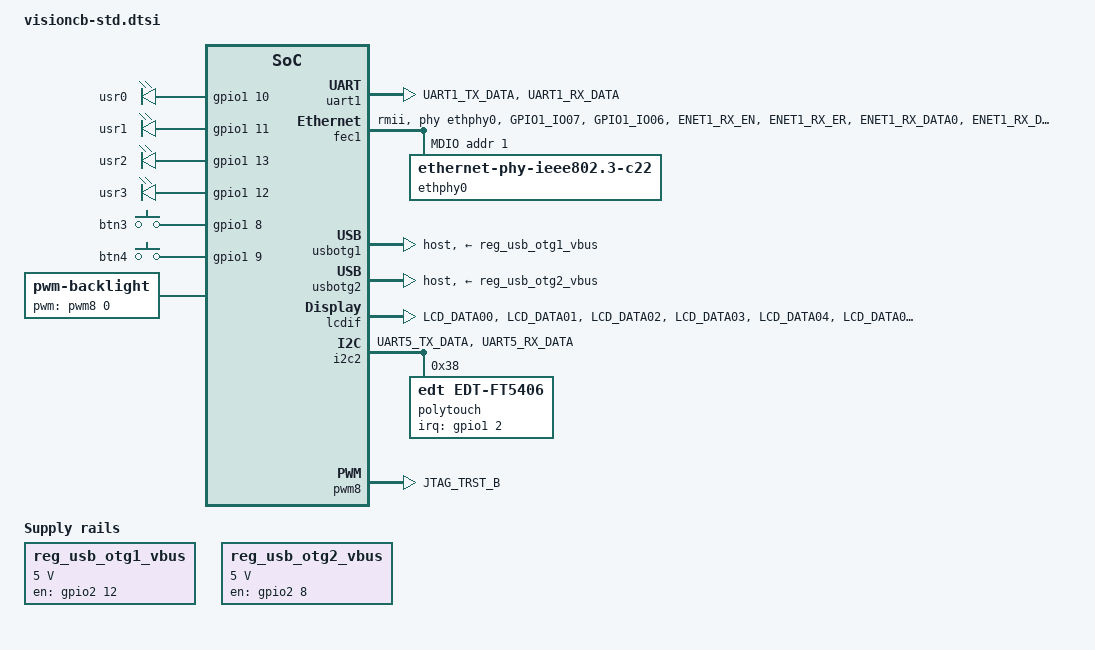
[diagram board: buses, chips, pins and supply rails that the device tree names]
/*
 * Copyright (C) 2015 Freescale Semiconductor, Inc.
 *
 * This program is free software; you can redistribute it and/or modify
 * it under the terms of the GNU General Public License version 2 as
 * published by the Free Software Foundation.
 */

/ {
        chosen {
                stdout-path = &uart1;
        };

        leds {
	        compatible = "gpio-leds";
                pinctrl-0 = <&pinctrl_gpio_leds>;

	        usr0 {
	                label = "usr0";
	                gpios = <&gpio1 10 GPIO_ACTIVE_HIGH>;
	                linux,default-trigger = "heartbeat";
	        };

	        usr1 {
		        label = "usr1";
		        gpios = <&gpio1 11 GPIO_ACTIVE_HIGH>;
		        linux,default-trigger = "mmc0";
	        };

	        usr2 {
		        label = "usr2";
		        gpios = <&gpio1 13 GPIO_ACTIVE_HIGH>;
		        linux,default-trigger = "mmc1";
	        };

	        usr3 {
		        label = "usr3";
		        gpios = <&gpio1 12 GPIO_ACTIVE_HIGH>;
	        };
        };

        gpio-keys {
                compatible = "gpio-keys";
                pinctrl-0 = <&pinctrl_gpio_keys>;
                pinctrl-names = "default";

                btn3 {
                        label = "btn3";
                        gpios = <&gpio1 8 GPIO_ACTIVE_HIGH>;
                        linux,code = <2>; /* <KEY_1> */
                };

                btn4 {
                        label = "btn4";
                        gpios = <&gpio1 9 GPIO_ACTIVE_HIGH>;
                        linux,code = <3>; /* <KEY_2> */
                };
        };

	backlight {
		compatible = "pwm-backlight";
		pwms = <&pwm8 0 5000000>;
		brightness-levels = <0 4 8 16 32 64 128 255>;
		default-brightness-level = <6>;
		status = "okay";
	};


	reg_usb_otg1_vbus: regulator@2 {
		compatible = "regulator-fixed";
		reg = <2>;
		pinctrl-names = "default";
		pinctrl-0 = <&pinctrl_usb_otg1>;
		regulator-name = "usb_otg1_vbus";
		regulator-min-microvolt = <5000000>;
		regulator-max-microvolt = <5000000>;
		gpio = <&gpio2 12 GPIO_ACTIVE_HIGH>;
		enable-active-high;
	};

	reg_usb_otg2_vbus: regulator@3 {
		compatible = "regulator-fixed";
		reg = <3>;
		pinctrl-names = "default";
		pinctrl-0 = <&pinctrl_usb_otg2>;
		regulator-name = "usb_otg2_vbus";
		regulator-min-microvolt = <5000000>;
		regulator-max-microvolt = <5000000>;
		gpio = <&gpio2 8 GPIO_ACTIVE_HIGH>;
		enable-active-high;
	};
};

&iomuxc {
        visioncb-std {
                pinctrl_uart1: uart1grp {
		        fsl,pins = <
			        MX6UL_PAD_UART1_TX_DATA__UART1_DCE_TX 0x1b0b1
			        MX6UL_PAD_UART1_RX_DATA__UART1_DCE_RX 0x1b0b1
		        >;
	        };

                pinctrl_i2c2: i2c2grp {
			fsl,pins = <
				MX6UL_PAD_UART5_TX_DATA__I2C2_SCL 0x4001b8b0
				MX6UL_PAD_UART5_RX_DATA__I2C2_SDA 0x4001b8b0
			>;
		};

	        pinctrl_gpio_leds: led_grp {
		        fsl,pins = <
			        MX6UL_PAD_JTAG_MOD__GPIO1_IO10		0x17099	/* LED 0 */
			        MX6UL_PAD_JTAG_TMS__GPIO1_IO11		0x17099	/* LED 1 */
			        MX6UL_PAD_JTAG_TDI__GPIO1_IO13		0x17099	/* LED 2 */
			        MX6UL_PAD_JTAG_TDO__GPIO1_IO12		0x17099	/* LED 3 */
		        >;
	        };

                pinctrl_gpio_keys: keysgrp {
			fsl,pins = <
				MX6UL_PAD_GPIO1_IO08__GPIO1_IO08  0x000050B0    /* BTN 3 */
				MX6UL_PAD_GPIO1_IO09__GPIO1_IO09  0x000050B0    /* BTN 4 */
			>;
		};

                pinctrl_enet1: enet1grp {
		        fsl,pins = <
			        MX6UL_PAD_GPIO1_IO07__ENET1_MDC		0x1b0b0
			        MX6UL_PAD_GPIO1_IO06__ENET1_MDIO	0x1F829

			        MX6UL_PAD_ENET1_RX_EN__ENET1_RX_EN	0x1b0b0
			        MX6UL_PAD_ENET1_RX_ER__ENET1_RX_ER	0x1b0b0
			        MX6UL_PAD_ENET1_RX_DATA0__ENET1_RDATA00	0x1b0b0
			        MX6UL_PAD_ENET1_RX_DATA1__ENET1_RDATA01	0x1b0b0
			        MX6UL_PAD_ENET1_TX_EN__ENET1_TX_EN	0x1b0b0
			        MX6UL_PAD_ENET1_TX_DATA0__ENET1_TDATA00	0x1b0b0
			        MX6UL_PAD_ENET1_TX_DATA1__ENET1_TDATA01	0x1b0b0
			        MX6UL_PAD_ENET1_TX_CLK__ENET1_REF_CLK1	0x400010a9
		        >;
	        };

                pinctrl_lcdif_dat: lcdifdatgrp {
	                fsl,pins = <
		                MX6UL_PAD_LCD_DATA00__LCDIF_DATA00  0x79
		                MX6UL_PAD_LCD_DATA01__LCDIF_DATA01  0x79
		                MX6UL_PAD_LCD_DATA02__LCDIF_DATA02  0x79
		                MX6UL_PAD_LCD_DATA03__LCDIF_DATA03  0x79
		                MX6UL_PAD_LCD_DATA04__LCDIF_DATA04  0x79
		                MX6UL_PAD_LCD_DATA05__LCDIF_DATA05  0x79
		                MX6UL_PAD_LCD_DATA06__LCDIF_DATA06  0x79
		                MX6UL_PAD_LCD_DATA07__LCDIF_DATA07  0x79
		                MX6UL_PAD_LCD_DATA08__LCDIF_DATA08  0x79
		                MX6UL_PAD_LCD_DATA09__LCDIF_DATA09  0x79
		                MX6UL_PAD_LCD_DATA10__LCDIF_DATA10  0x79
		                MX6UL_PAD_LCD_DATA11__LCDIF_DATA11  0x79
		                MX6UL_PAD_LCD_DATA12__LCDIF_DATA12  0x79
		                MX6UL_PAD_LCD_DATA13__LCDIF_DATA13  0x79
		                MX6UL_PAD_LCD_DATA14__LCDIF_DATA14  0x79
		                MX6UL_PAD_LCD_DATA15__LCDIF_DATA15  0x79
		                MX6UL_PAD_LCD_DATA16__LCDIF_DATA16  0x79
		                MX6UL_PAD_LCD_DATA17__LCDIF_DATA17  0x79
		                MX6UL_PAD_LCD_DATA18__LCDIF_DATA18  0x79
		                MX6UL_PAD_LCD_DATA19__LCDIF_DATA19  0x79
		                MX6UL_PAD_LCD_DATA20__LCDIF_DATA20  0x79
		                MX6UL_PAD_LCD_DATA21__LCDIF_DATA21  0x79
		                MX6UL_PAD_LCD_DATA22__LCDIF_DATA22  0x79
		                MX6UL_PAD_LCD_DATA23__LCDIF_DATA23  0x79
	                >;
                };

	        pinctrl_lcdif_ctrl: lcdifctrlgrp {
		        fsl,pins = <
			        MX6UL_PAD_LCD_CLK__LCDIF_CLK	    0x79
			        MX6UL_PAD_LCD_ENABLE__LCDIF_ENABLE  0x79
			        MX6UL_PAD_LCD_HSYNC__LCDIF_HSYNC    0x79
			        MX6UL_PAD_LCD_VSYNC__LCDIF_VSYNC    0x79
			
			        MX6UL_PAD_LCD_RESET__GPIO3_IO04     0x79 /* used for lcd reset */
		        >;
	        };

                edt_ft5406_ts_pins_default: tsgrp {
			fsl,pins = <
				MX6UL_PAD_GPIO1_IO02__GPIO1_IO02   0x1b0b0
		        >;
                };

                pinctrl_pwm8: pwm8grp {
                        fsl,pins = <
	                        MX6UL_PAD_JTAG_TRST_B__PWM8_OUT   0x110b0  /* used for LCD backlight */
                        >;
                };

                pinctrl_usb_otg1: usbotg1grp {
	                fsl,pins = <
		                MX6UL_PAD_ENET2_TX_DATA1__GPIO2_IO12    0x10b0
	                >;
                };

                pinctrl_usb_otg2: usbotg2grp {
	                fsl,pins = <
		                MX6UL_PAD_ENET2_RX_DATA0__GPIO2_IO08    0x10b0
	                >;
                };
        };
};

&uart1 {
	pinctrl-names = "default";
	pinctrl-0 = <&pinctrl_uart1>;
	status = "okay";
};

&fec1 {
	pinctrl-names = "default";
	pinctrl-0 = <&pinctrl_enet1>;
	phy-mode = "rmii";
	phy-handle = <&ethphy0>;
	status = "okay";

	mdio {
		#address-cells = <1>;
		#size-cells = <0>;

		ethphy0: ethernet-phy@1 {
			compatible = "ethernet-phy-ieee802.3-c22";
			reg = <1>;
		};
	};

};

&usbotg1 {
    vbus-supply = <&reg_usb_otg1_vbus>;
	dr_mode = "host";
	status = "okay";
};

&usbotg2 {
    vbus-supply = <&reg_usb_otg2_vbus>;
	dr_mode = "host";
	status = "okay";
};

&usbphy1 {
	tx-d-cal = <0x5>;
};

&usbphy2 {
	tx-d-cal = <0x5>;
};

&lcdif {
	pinctrl-names = "default";
	pinctrl-0 = <&pinctrl_lcdif_dat &pinctrl_lcdif_ctrl>;
	display = <&display0>;
	status = "okay";

	display0: display {
		bits-per-pixel = <16>;
		bus-width = <24>;

		display-timings {
			        native-mode = <&timing0>;
			        timing0: timing0 {
			        clock-frequency = <33300000>;
			        hactive = <800>;
			        vactive = <480>;
			        hfront-porch = <210>;
			        hback-porch = <46>;
			        hsync-len = <20>;
			        vback-porch = <23>;
			        vfront-porch = <22>;
			        vsync-len = <10>;

			        hsync-active = <0>;
			        vsync-active = <0>;
			        de-active = <1>;
			        pixelclk-active = <0>;
			};
		};
	};
};

&i2c2 {
	clock_frequency = <100000>;
	pinctrl-names = "default";
	pinctrl-0 = <&pinctrl_i2c2>;
	status = "okay";

	polytouch: edt-ft5406@38 {
		status = "okay";
		compatible = "edt,edt-ft5406", "edt,edt-ft5x06";
		pinctrl-names = "default";
		pinctrl-0 = <&edt_ft5406_ts_pins_default>;

		reg = <0x38>;
		interrupt-parent = <&gpio1>;
		interrupts = <2 IRQ_TYPE_EDGE_FALLING>;
		touchscreen-size-x = <800>;
		touchscreen-size-y = <480>;
	};
};

&pwm8 {
	pinctrl-names = "default";
	pinctrl-0 = <&pinctrl_pwm8>;
	status = "okay";
};




